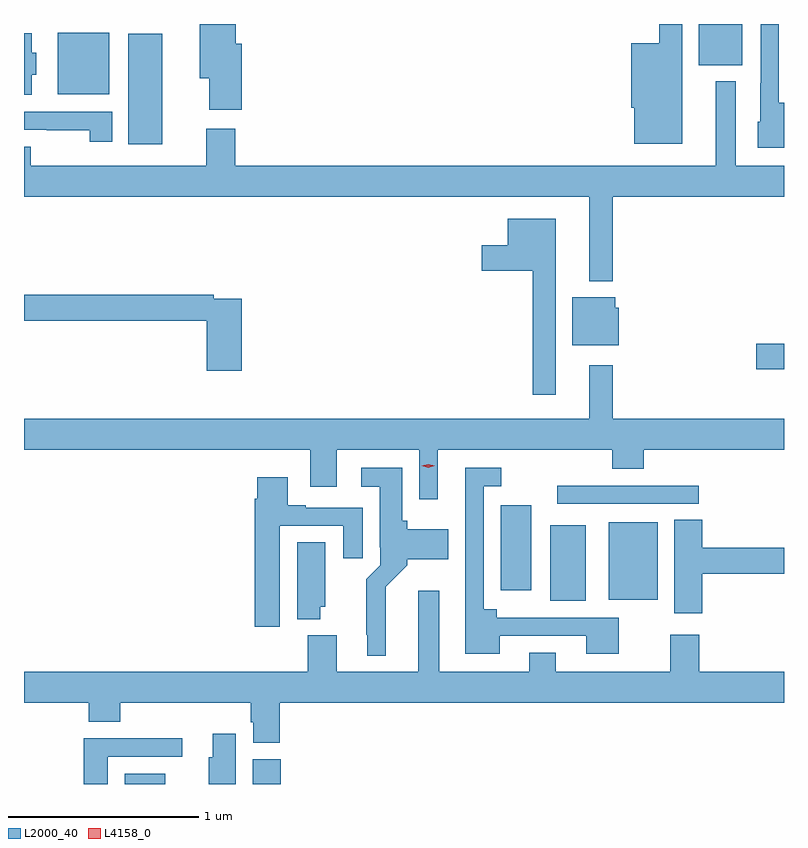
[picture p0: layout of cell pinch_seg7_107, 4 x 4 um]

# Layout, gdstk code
import gdstk
lib = gdstk.Library(unit=1e-6, precision=1e-09)
def R(c, l, rs):  # rectangles x0, y0, x1, y1
    for r in rs: c.add(gdstk.rectangle(r[:2], r[2:], *l))
def P(c, l, *ps):  # polygons
    for p in ps: c.add(gdstk.Polygon(p, *l))
L2000_40 = (2000, 40)
L4158_0 = (4158, 0)

pinch_seg7_107 = lib.new_cell('pinch_seg7_107')
R(pinch_seg7_107, L2000_40, [(973.202,1006.849,973.414,1006.903), (973.874,1006.849,974.021,1006.98), (975.44,1007.813,975.628,1008.211), (975.749,1007.819,976.006,1008.226), (975.179,1007.868,975.34,1008.316), (975.477,1008.324,976.222,1008.42), (976.524,1009.031,976.671,1009.166), (973.22,1010.216,973.399,1010.797), (972.848,1010.48,973.12,1010.803), (976.223,1010.633,976.45,1010.849)])
P(pinch_seg7_107, L2000_40, [(973.817,1010.745),(973.786,1010.745),(973.786,1010.849),(973.595,1010.849),(973.595,1010.564),(973.646,1010.564),(973.646,1010.397),(973.817,1010.397)],
  [(976.135,1010.849),(976.014,1010.849),(976.014,1010.749),(975.866,1010.749),(975.866,1010.409),(975.884,1010.409),(975.884,1010.219),(976.135,1010.219)],
  [(976.671,1010.434),(976.644,1010.434),(976.644,1010.849),(976.548,1010.849),(976.548,1010.537),(976.547,1010.537),(976.547,1010.334),(976.532,1010.334),(976.532,1010.198),(976.671,1010.198)],
  [(972.712,1010.583),(972.736,1010.583),(972.736,1010.697),(972.712,1010.697),(972.712,1010.8),(972.671,1010.8),(972.671,1010.477),(972.712,1010.477)],
  [(975.769,1009.94),(976.671,1009.94),(976.671,1010.104),(976.417,1010.104),(976.417,1010.548),(976.313,1010.548),(976.313,1010.104),(973.784,1010.104),(973.784,1010.299),(973.631,1010.299),(973.631,1010.104),(972.707,1010.104),(972.707,1010.203),(972.671,1010.203),(972.671,1009.94),(975.647,1009.94),(975.647,1009.496),(975.769,1009.496)],
  [(973.135,1010.388),(972.671,1010.388),(972.671,1010.292),(972.79,1010.292),(972.79,1010.291),(973.018,1010.291),(973.018,1010.229),(973.135,1010.229)],
  [(975.469,1009.825),(975.218,1009.825),(975.218,1009.684),(975.081,1009.684),(975.081,1009.55),(975.348,1009.55),(975.348,1008.897),(975.469,1008.897)],
  [(973.817,1009.404),(973.67,1009.404),(973.67,1009.424),(972.671,1009.424),(972.671,1009.288),(973.634,1009.288),(973.634,1009.023),(973.817,1009.023)],
  [(975.802,1009.356),(975.784,1009.356),(975.784,1009.411),(975.557,1009.411),(975.557,1009.157),(975.802,1009.157)],
  [(974.848,1008.608),(975.767,1008.608),(975.767,1008.509),(975.932,1008.509),(975.932,1008.608),(976.671,1008.608),(976.671,1008.772),(975.769,1008.772),(975.769,1009.054),(975.647,1009.054),(975.647,1008.772),(972.671,1008.772),(972.671,1008.608),(974.177,1008.608),(974.177,1008.414),(974.317,1008.414),(974.317,1008.608),(974.751,1008.608),(974.751,1008.348),(974.848,1008.348)],
  [(974.575,1007.888),(974.688,1008.001),(974.688,1008.032),(974.905,1008.032),(974.905,1008.19),(974.688,1008.19),(974.688,1008.234),(974.662,1008.234),(974.662,1008.514),(974.445,1008.514),(974.445,1008.413),(974.543,1008.413),(974.543,1008.094),(974.547,1008.094),(974.547,1008),(974.473,1007.926),(974.473,1007.635),(974.477,1007.635),(974.477,1007.525),(974.575,1007.525)],
  [(975.175,1007.628),(975.629,1007.628),(975.629,1007.534),(975.802,1007.534),(975.802,1007.724),(975.16,1007.724),(975.16,1007.77),(975.09,1007.77),(975.09,1008.417),(975.184,1008.417),(975.184,1008.513),(974.993,1008.513),(974.993,1008.286),(974.994,1008.286),(974.994,1007.866),(974.993,1007.866),(974.993,1007.534),(975.175,1007.534)],
  [(974.017,1008.207),(974.351,1008.207),(974.351,1008.036),(974.455,1008.036),(974.455,1008.303),(974.155,1008.303),(974.155,1008.316),(974.059,1008.316),(974.059,1008.463),(973.898,1008.463),(973.898,1008.35),(973.886,1008.35),(973.886,1007.676),(974.017,1007.676)],
  [(976.241,1007.956),(976.671,1007.956),(976.671,1008.092),(976.241,1008.092),(976.241,1008.239),(976.094,1008.239),(976.094,1007.748),(976.241,1007.748)],
  [(974.23,1007.781),(974.257,1007.781),(974.257,1008.122),(974.108,1008.122),(974.108,1007.717),(974.23,1007.717)],
  [(974.018,1007.276),(976.671,1007.276),(976.671,1007.44),(976.226,1007.44),(976.226,1007.635),(976.073,1007.635),(976.073,1007.44),(975.469,1007.44),(975.469,1007.539),(975.329,1007.539),(975.329,1007.44),(974.857,1007.44),(974.857,1007.866),(974.747,1007.866),(974.747,1007.44),(974.317,1007.44),(974.317,1007.632),(974.165,1007.632),(974.165,1007.44),(972.671,1007.44),(972.671,1007.276),(973.013,1007.276),(973.013,1007.177),(973.178,1007.177),(973.178,1007.276),(973.865,1007.276),(973.865,1007.175),(973.877,1007.175),(973.877,1007.065),(974.018,1007.065)],
  [(973.786,1007.113),(973.664,1007.113),(973.664,1006.989),(973.643,1006.989),(973.643,1006.849),(973.786,1006.849)],
  [(973.111,1006.992),(973.504,1006.992),(973.504,1007.09),(972.986,1007.09),(972.986,1006.849),(973.111,1006.849)])
P(pinch_seg7_107, L4158_0, [(974.799,1008.513),(974.764,1008.523),(974.763,1008.523),(974.764,1008.523),(974.799,1008.533),(974.834,1008.523),(974.834,1008.523),(974.834,1008.523)])

lib.write_gds('pinch_seg7_107.gds')
